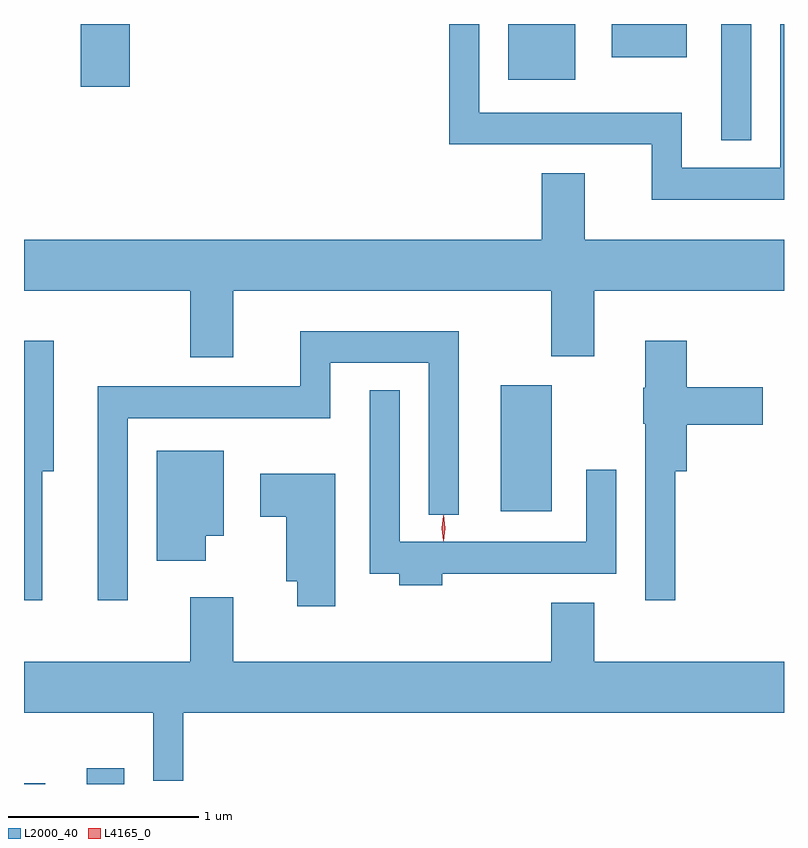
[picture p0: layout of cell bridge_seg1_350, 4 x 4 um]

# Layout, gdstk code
import gdstk
lib = gdstk.Library(unit=1e-6, precision=1e-09)
def R(c, l, rs):  # rectangles x0, y0, x1, y1
    for r in rs: c.add(gdstk.rectangle(r[:2], r[2:], *l))
def P(c, l, *ps):  # polygons
    for p in ps: c.add(gdstk.Polygon(p, *l))
L2000_40 = (2000, 40)
L4165_0 = (4165, 0)

bridge_seg1_350 = lib.new_cell('bridge_seg1_350')
R(bridge_seg1_350, L2000_40, [(928.697,872.56,928.808,872.564), (929.026,872.56,929.224,872.644), (931.206,873.996,931.474,874.659), (932.366,875.948,932.524,876.56), (928.996,876.231,929.254,876.56), (931.246,876.266,931.599,876.56), (931.791,876.386,932.184,876.56)])
P(bridge_seg1_350, L2000_40, [(932.697,876.56),(932.676,876.56),(932.676,875.804),(932.159,875.804),(932.159,876.094),(931.094,876.094),(931.094,876.56),(930.936,876.56),(930.936,875.926),(932.001,875.926),(932.001,875.636),(932.697,875.636)],
  [(929.799,875.156),(931.471,875.156),(931.471,874.811),(931.699,874.811),(931.699,875.156),(932.697,875.156),(932.697,875.424),(931.649,875.424),(931.649,875.774),(931.421,875.774),(931.421,875.424),(928.697,875.424),(928.697,875.156),(929.571,875.156),(929.571,874.806),(929.799,874.806)],
  [(929.244,874.486),(930.309,874.486),(930.309,874.776),(930.826,874.776),(930.826,873.978),(930.984,873.978),(930.984,874.944),(930.151,874.944),(930.151,874.654),(929.086,874.654),(929.086,873.528),(929.244,873.528)],
  [(928.794,874.206),(928.854,874.206),(928.854,874.894),(928.697,874.894),(928.697,873.528),(928.794,873.528)],
  [(932.124,874.206),(932.184,874.206),(932.184,874.451),(932.584,874.451),(932.584,874.649),(932.184,874.649),(932.184,874.894),(931.966,874.894),(931.966,874.645),(931.956,874.645),(931.956,874.455),(931.966,874.455),(931.966,873.528),(932.124,873.528)],
  [(930.899,873.666),(931.814,873.666),(931.814,874.213),(931.656,874.213),(931.656,873.834),(930.674,873.834),(930.674,874.633),(930.516,874.633),(930.516,873.666),(930.671,873.666),(930.671,873.606),(930.899,873.606)],
  [(929.654,873.866),(929.749,873.866),(929.749,874.314),(929.396,874.314),(929.396,873.736),(929.654,873.736)],
  [(930.334,874.194),(929.941,874.194),(929.941,873.966),(930.076,873.966),(930.076,873.626),(930.136,873.626),(930.136,873.496),(930.334,873.496)],
  [(929.534,872.936),(932.697,872.936),(932.697,873.204),(931.699,873.204),(931.699,873.514),(931.471,873.514),(931.471,873.204),(929.799,873.204),(929.799,873.544),(929.571,873.544),(929.571,873.204),(928.697,873.204),(928.697,872.936),(929.376,872.936),(929.376,872.578),(929.534,872.578)])
P(bridge_seg1_350, L4165_0, [(930.905,873.837),(930.905,873.837),(930.895,873.907),(930.905,873.976),(930.905,873.976),(930.906,873.976),(930.915,873.907),(930.906,873.837)],
  [(930.904,873.84),(930.895,873.906),(930.904,873.972),(930.905,873.973),(930.906,873.972),(930.915,873.906),(930.906,873.84),(930.905,873.84)])

lib.write_gds('bridge_seg1_350.gds')
